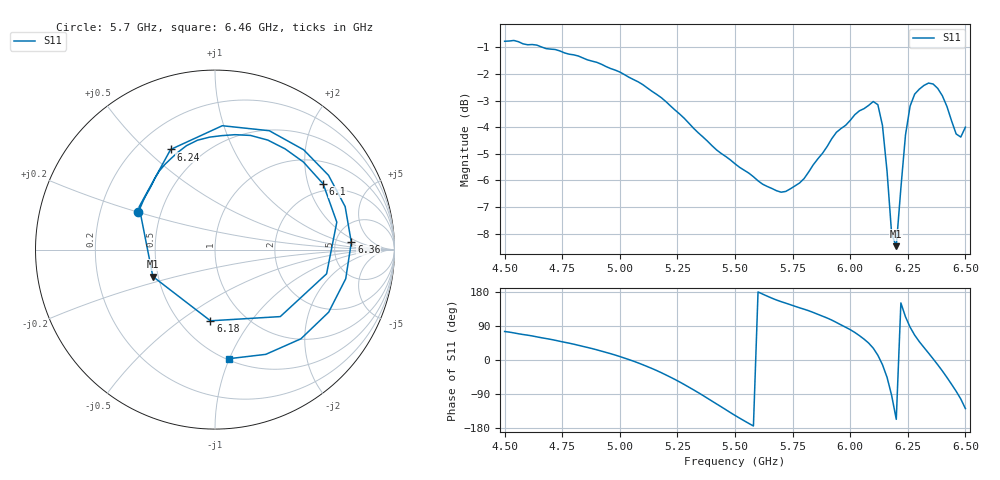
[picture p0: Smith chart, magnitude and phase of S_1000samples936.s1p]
! TOUCHSTONE file generated by CST MICROWAVE STUDIO
! Date and time: Sat Oct 29 20:45:49 2022
! Project name: L.cst
! Parameters = {Di=1.27; Epsilon_r=1.56; InnerDiameter=1.27; Length=2; Lf=10; Lg=60; OuterConductorThickness=0.2921; OuterDiameter=3.6; Wf=3; Wp=41.2; de=1.5; df=6.8; g=0.8; gx=3.54506; gy=1.68159; h=2.34; hf=1.524; px=11.537; py=13.2089; w=9.7; wx=7.99195; wy=11.5273}
! Header version: 2018
! Port assignment regex: !\s*Touchstone port\s*([0-9]+)\s*=\s*(CST MWS port|CST DS port)\s*([0-9]+|Zmin|Zmax)\s*\(\"(.*)\"\)(\s*mode\s*([0-9]+))?.*
! Touchstone port assignment:
! Touchstone port 1 = CST MWS port 1 ("")
# GHz S DB R 50
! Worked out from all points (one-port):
!   101 points, 4.5 GHz to 6.5 GHz, reference 50 ohm
!   lowest |S11| = -8.5 dB at 6.2 GHz (marker M1), VSWR 2.21, Z = 23.4 - j8.17 ohm
!   |S11| at or under -10 dB: nowhere
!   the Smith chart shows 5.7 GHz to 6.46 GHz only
!   S11 on the Smith chart (normalised r, x): 5.7 GHz: 0.37, +0.20; 6.1 GHz: 1.72, +2.51; 6.18 GHz: 0.70, -0.66; 6.24 GHz: 0.34, +0.60; 6.36 GHz: 7.09, +1.35; 6.46 GHz: 0.51, -1.00
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4.5  -0.77 75.2
4.76  -1.21 46.8
5  -1.93 9.1
5.14  -2.65 -22.5
5.26  -3.51 -58.0
5.38  -4.52 -100.8
5.5  -5.37 -146.2
5.58  -5.86 -174.1
5.7  -6.44 154.0
5.76  -6.21 141.8
5.9  -4.72 110.8
6  -3.74 80.1
6.06  -3.30 55.1
6.1  -3.04 31.3
6.12  -3.15 12.7
6.14  -3.93 -12.3
6.16  -5.66 -45.7
6.18  -8.01 -93.7
6.2  -8.47 -156.6
6.22  -6.28 150.6
6.24  -4.29 113.9
6.26  -3.21 86.6
6.3  -2.57 48.4
6.36  -2.38 3.0
6.38  -2.54 -12.6
6.42  -3.22 -46.1
6.46  -4.25 -82.6
6.5  -4.00 -128.1
